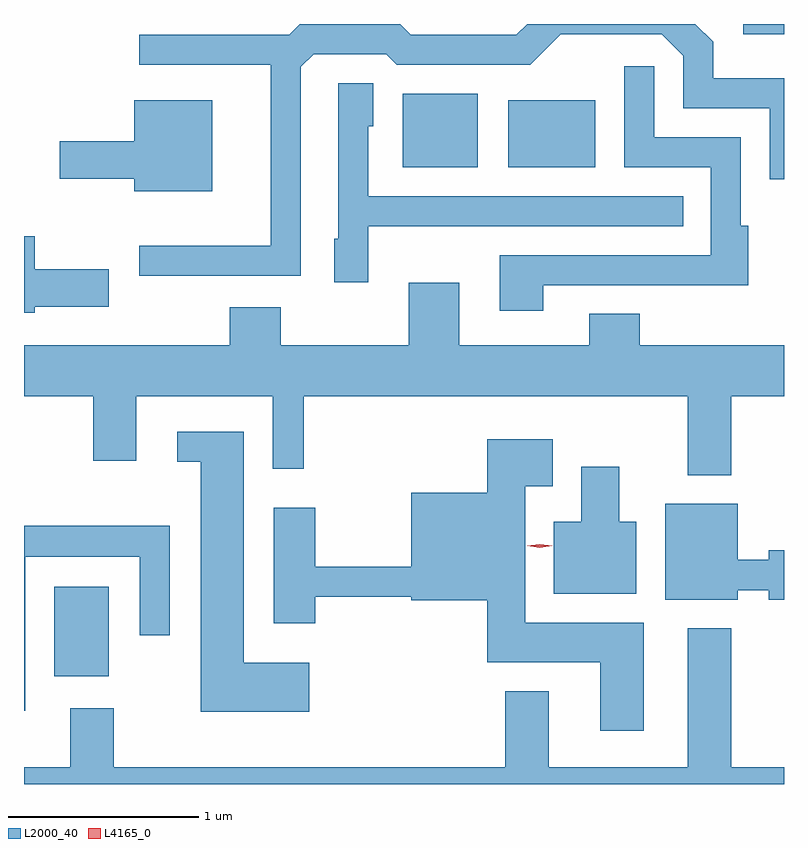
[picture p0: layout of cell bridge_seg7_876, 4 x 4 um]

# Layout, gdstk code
import gdstk
lib = gdstk.Library(unit=1e-6, precision=1e-09)
def R(c, l, rs):  # rectangles x0, y0, x1, y1
    for r in rs: c.add(gdstk.rectangle(r[:2], r[2:], *l))
def P(c, l, *ps):  # polygons
    for p in ps: c.add(gdstk.Polygon(p, *l))
L2000_40 = (2000, 40)
L4165_0 = (4165, 0)

bridge_seg7_876 = lib.new_cell('bridge_seg7_876')
R(bridge_seg7_876, L2000_40, [(521.226,1692.861,521.514,1693.334), (523.061,1695.541,523.454,1695.929), (523.616,1695.541,524.074,1695.894), (524.853,1696.241,525.067,1696.295)])
P(bridge_seg7_876, L2000_40, [(522.524,1696.069),(522.592,1696.136),(522.974,1696.136),(523.029,1696.081),(523.732,1696.081),(523.892,1696.241),(524.424,1696.241),(524.536,1696.129),(524.536,1695.851),(524.991,1695.851),(524.991,1695.478),(525.067,1695.478),(525.067,1696.009),(524.694,1696.009),(524.694,1696.202),(524.601,1696.295),(523.715,1696.295),(523.659,1696.239),(523.102,1696.239),(523.047,1696.294),(522.519,1696.294),(522.464,1696.239),(521.673,1696.239),(521.673,1696.081),(522.366,1696.081),(522.366,1695.129),(521.673,1695.129),(521.673,1694.971),(522.524,1694.971)],
  [(523.799,1694.921),(524.879,1694.921),(524.879,1695.234),(524.839,1695.234),(524.839,1695.699),(524.384,1695.699),(524.384,1696.073),(524.226,1696.073),(524.226,1695.541),(524.681,1695.541),(524.681,1695.079),(523.571,1695.079),(523.571,1694.786),(523.799,1694.786)],
  [(522.879,1695.231),(524.538,1695.231),(524.538,1695.389),(522.879,1695.389),(522.879,1695.756),(522.904,1695.756),(522.904,1695.984),(522.721,1695.984),(522.721,1695.164),(522.701,1695.164),(522.701,1694.936),(522.879,1694.936)],
  [(522.059,1695.894),(521.646,1695.894),(521.646,1695.679),(521.256,1695.679),(521.256,1695.481),(521.646,1695.481),(521.646,1695.416),(522.059,1695.416)],
  [(521.124,1694.806),(521.514,1694.806),(521.514,1695.004),(521.124,1695.004),(521.124,1695.179),(521.067,1695.179),(521.067,1694.776),(521.124,1694.776)],
  [(524.789,1694.336),(525.067,1694.336),(525.067,1694.604),(524.309,1694.604),(524.309,1694.769),(524.041,1694.769),(524.041,1694.604),(523.359,1694.604),(523.359,1694.934),(523.091,1694.934),(523.091,1694.604),(522.419,1694.604),(522.419,1694.804),(522.151,1694.804),(522.151,1694.604),(521.067,1694.604),(521.067,1694.336),(521.431,1694.336),(521.431,1693.996),(521.659,1693.996),(521.659,1694.336),(522.376,1694.336),(522.376,1693.953),(522.539,1693.953),(522.539,1694.336),(524.561,1694.336),(524.561,1693.921),(524.789,1693.921)],
  [(522.569,1692.934),(522.224,1692.934),(522.224,1694.149),(521.873,1694.149),(521.873,1693.991),(521.996,1693.991),(521.996,1692.676),(522.569,1692.676)],
  [(524.329,1693.144),(523.704,1693.144),(523.704,1693.861),(523.849,1693.861),(523.849,1694.109),(523.506,1694.109),(523.506,1693.829),(523.106,1693.829),(523.106,1693.439),(522.599,1693.439),(522.599,1693.749),(522.381,1693.749),(522.381,1693.141),(522.599,1693.141),(522.599,1693.281),(523.106,1693.281),(523.106,1693.261),(523.506,1693.261),(523.506,1692.936),(524.101,1692.936),(524.101,1692.576),(524.329,1692.576)],
  [(524.289,1693.674),(524.199,1693.674),(524.199,1693.964),(524.001,1693.964),(524.001,1693.674),(523.856,1693.674),(523.856,1693.296),(524.289,1693.296)],
  [(524.824,1693.316),(524.986,1693.316),(524.986,1693.266),(525.067,1693.266),(525.067,1693.524),(524.986,1693.524),(524.986,1693.474),(524.824,1693.474),(524.824,1693.769),(524.441,1693.769),(524.441,1693.266),(524.824,1693.266)],
  [(521.074,1693.491),(521.676,1693.491),(521.676,1693.078),(521.834,1693.078),(521.834,1693.654),(521.067,1693.654),(521.067,1692.681),(521.074,1692.681)],
  [(525.067,1692.384),(524.789,1692.384),(524.789,1693.114),(524.561,1693.114),(524.561,1692.384),(523.829,1692.384),(523.829,1692.784),(523.601,1692.784),(523.601,1692.384),(521.539,1692.384),(521.539,1692.694),(521.311,1692.694),(521.311,1692.384),(521.067,1692.384),(521.067,1692.295),(525.067,1692.295)])
P(bridge_seg7_876, L4165_0, [(523.782,1693.538),(523.716,1693.548),(523.716,1693.549),(523.716,1693.55),(523.782,1693.558),(523.847,1693.548),(523.848,1693.548),(523.847,1693.548)])

lib.write_gds('bridge_seg7_876.gds')
